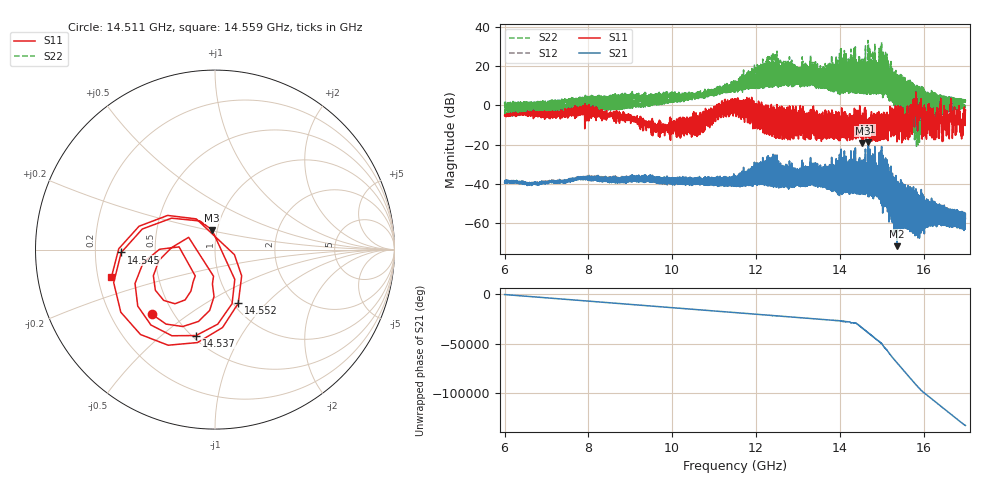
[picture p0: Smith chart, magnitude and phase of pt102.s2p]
#  HZ  S  RI  R  50.00
! Rohde & Schwarz Vector Network Analyzer
! Rohde-Schwarz,ZNA67-2Port,1332450062101215,3.01
! Created: UTC 10/19/2026, 1:29:45 PM
! freq[Hz]  re:S11  im:S11  re:S21  im:S21  re:S12  im:S12  re:S22  im:S22
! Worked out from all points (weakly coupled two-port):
!   11001 points, 6 GHz to 17 GHz, reference 50 ohm
!   highest |S21| = -18.43 dB at 14.673 GHz (marker M1); lowest = -71.7 dB at 15.365 GHz (marker M2)
!   lowest |S11| = -19.2 dB at 14.541 GHz (marker M3), VSWR 1.25, Z = 47.3 + j10.4 ohm
!   |S11| at or under -10 dB: 9.612009 GHz to 9.651513 GHz (39.5 MHz wide, 0.41 % of centre); 9.829069 GHz to 9.86987 GHz (40.8 MHz wide, 0.414 % of centre); 9.885493 GHz to 9.926217 GHz (40.72 MHz wide, 0.411 % of centre) (the widest 3 of 462)
!   |S22| runs from -21.3 to 33.1 dB; largest |S21 - S12| = 0.0028
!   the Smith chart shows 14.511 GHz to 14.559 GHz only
!   S11 on the Smith chart (normalised r, x): 14.511 GHz: 0.38, -0.37; 14.537 GHz: 0.52, -0.66; 14.545 GHz: 0.31, -0.01; 14.552 GHz: 1.05, -0.71; 14.559 GHz: 0.26, -0.12
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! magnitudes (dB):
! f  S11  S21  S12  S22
! 6 GHz  -5.1  -39.2  -39.1  0.6
! 7.834 GHz  -3.7  -36.5  -36.3  3.8
! 9.667 GHz  -9.3  -36.6  -36.8  6.5
! 10.678 GHz  -3.7  -40.0  -40.0  4.3
! 11.5 GHz  3.1  -39.2  -39.2  8.9
! 12.463 GHz  -5.8  -40.9  -40.9  10.6
! 13.334 GHz  -11.5  -38.4  -38.3  12.8
! 14.511 GHz  -6.0  -43.3  -43.2  9.3
! 14.537 GHz  -6.2  -31.5  -31.4  20.5
! 14.541 GHz  -19.2  -44.4  -44.3  6.3
! 14.545 GHz  -5.6  -34.2  -34.1  16.9
! 14.552 GHz  -9.7  -45.1  -45.0  6.2
! 14.559 GHz  -4.5  -42.5  -42.5  10.2
! 14.673 GHz  -8.1  -18.4  -18.4  33.1
! 15.167 GHz  -10.2  -49.7  -49.6  6.3
! 15.365 GHz  -18.6  -71.7  -71.7  -0.3
! 15.607 GHz  -1.9  -45.0  -44.9  9.1
! 15.798 GHz  -5.2  -66.4  -66.3  -17.1
! 16.246 GHz  -5.8  -52.7  -52.6  2.7
! 16.689 GHz  -16.6  -56.5  -56.4  1.0
! 16.912 GHz  -12.4  -56.8  -56.6  1.4
! 17 GHz  -2.3  -57.7  -57.6  2.0
